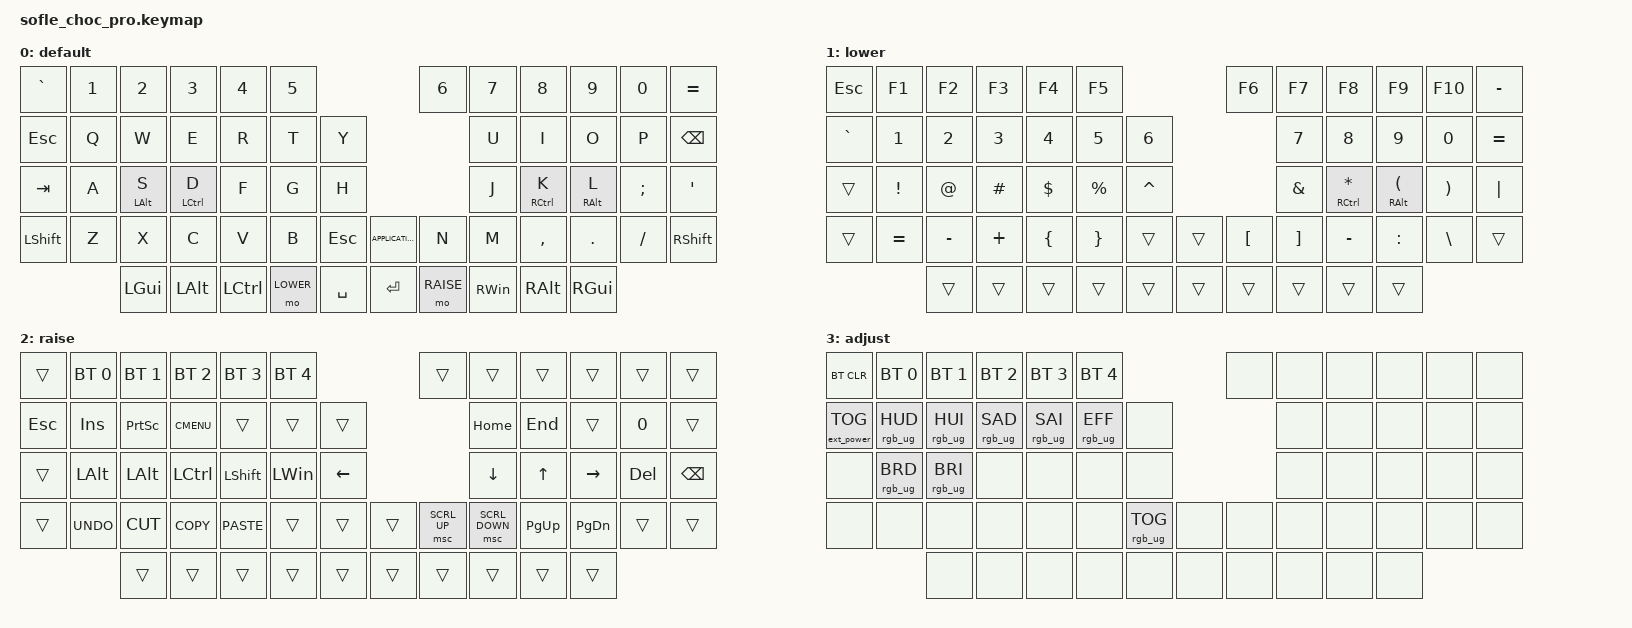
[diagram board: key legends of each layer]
/*
* Copyright (c) 2020 The ZMK Contributors
*
* SPDX-License-Identifier: MIT
*/

#include <behaviors.dtsi>
#include <dt-bindings/zmk/bt.h>
#include <dt-bindings/zmk/ext_power.h>
#include <dt-bindings/zmk/keys.h>
#include <dt-bindings/zmk/pointing.h>
#include <dt-bindings/zmk/rgb.h>

#define BASE 0
#define LOWER 1
#define RAISE 2
#define ADJUST 3

/ {
    // Activate ADJUST layer by pressing raise and lower

    conditional_layers {
        compatible = "zmk,conditional-layers";

        adjust_layer {
            if-layers = <LOWER RAISE>;
            then-layer = <ADJUST>;
        };
    };

    behaviors {
        hrmShiftLeft: hrmShiftLeft {
            compatible = "zmk,behavior-hold-tap";
            label = "HRMSHIFTLEFT";
            bindings = <&kp>, <&kp>;

            #binding-cells = <2>;
            tapping-term-ms = <200>;
            flavor = "hold-preferred";
            hold-while-undecided;
            retro-tap;
            hold-trigger-on-release;
            hold-trigger-key-positions = <6 7 8 9 10 11 18 19 20 21 22 23 30 31 32 33 34 35 44 45 46 47 48 49>;
        };

        hmrShiftRight: hmrShiftRight {
            compatible = "zmk,behavior-hold-tap";
            label = "HMRSHIFTRIGHT";
            bindings = <&kp>, <&kp>;

            #binding-cells = <2>;
            tapping-term-ms = <200>;
            flavor = "hold-preferred";
            hold-while-undecided;
            retro-tap;
            hold-trigger-on-release;
            hold-trigger-key-positions = <0 1 2 3 4 5 12 13 14 15 16 17 24 25 26 27 28 29 36 37 38 39 40 41>;
        };

        hrmRight: hrmRight {
            compatible = "zmk,behavior-hold-tap";
            label = "HRMRIGHT";
            bindings = <&kp>, <&kp>;

            #binding-cells = <2>;
            tapping-term-ms = <280>;
            flavor = "balanced";
            hold-trigger-key-positions = <0 1 2 3 4 5 12 13 14 15 16 17 24 25 26 27 28 29 36 37 38 39 40 41>;
            quick-tap-ms = <175>;
            require-prior-idle-ms = <150>;
            hold-trigger-on-release;
        };

        hrmLeft: hrmLeft {
            compatible = "zmk,behavior-hold-tap";
            label = "HRMLEFT";
            bindings = <&kp>, <&kp>;

            #binding-cells = <2>;
            tapping-term-ms = <280>;
            flavor = "balanced";
            hold-trigger-key-positions = <6 7 8 9 10 11 18 19 20 21 22 23 30 31 32 33 34 35 44 45 46 47 48 49>;
            quick-tap-ms = <175>;
            require-prior-idle-ms = <150>;
            hold-trigger-on-release;
        };

        hrmRightCustom: hrmRightCustom {
            compatible = "zmk,behavior-hold-tap";
            label = "HRMRIGHTCUSTOM";
            bindings = <&kp>, <&kp>;

            #binding-cells = <2>;
            tapping-term-ms = <175>;
            flavor = "balanced";
            hold-trigger-key-positions = <0 1 2 3 4 5 12 13 14 15 16 17 24 25 26 27 28 29 36 37 38 39 40 41>;
            quick-tap-ms = <150>;
            require-prior-idle-ms = <125>;
            hold-trigger-on-release;
        };

        hrmLeftCustom: hrmLeftCustom {
            compatible = "zmk,behavior-hold-tap";
            label = "HRMLEFTCUSTOM";
            bindings = <&kp>, <&kp>;

            #binding-cells = <2>;
            tapping-term-ms = <175>;
            flavor = "balanced";
            hold-trigger-key-positions = <6 7 8 9 10 11 18 19 20 21 22 23 30 31 32 33 34 35 44 45 46 47 48 49>;
            quick-tap-ms = <150>;
            require-prior-idle-ms = <125>;
            hold-trigger-on-release;
        };

        hrmRightModified: hrmRightModified {
            compatible = "zmk,behavior-hold-tap";
            label = "HRMRIGHTMODIFIED";
            bindings = <&kp>, <&kp>;

            #binding-cells = <2>;
            tapping-term-ms = <280>;
            flavor = "balanced";
            hold-trigger-key-positions = <0 1 2 3 4 5 12 13 14 15 16 17 24 25 26 27 28 29 36 37 38 39 40 41 54>;
            quick-tap-ms = <175>;
            require-prior-idle-ms = <100>;
            hold-trigger-on-release;
        };

        hrmLeftModified: hrmLeftModified {
            compatible = "zmk,behavior-hold-tap";
            label = "HRMLEFTMODIFIED";
            bindings = <&kp>, <&kp>;

            #binding-cells = <2>;
            tapping-term-ms = <280>;
            flavor = "balanced";
            hold-trigger-key-positions = <6 7 8 9 10 11 18 19 20 21 22 23 30 31 32 33 34 35 44 45 46 47 48 49 55>;
            quick-tap-ms = <175>;
            require-prior-idle-ms = <100>;
            hold-trigger-on-release;
        };

        td_gui_key: td_gui_key {
            compatible = "zmk,behavior-tap-dance";
            label = "TD_GUI_KEY";
            #binding-cells = <0>;
            bindings = <&kp Z>, <&kp LEFT_WIN>;
        };
    };

    keymap {
        compatible = "zmk,keymap";

        default_layer {
            display-name = "default";

            // ------------------------------------------------------------------------------------------------------------
            // |   `   |  1  |  2  |  3   |  4   |  5   |                   |  6   |  7    |  8    |  9   |   0   |   `   |
            // |  ESC  |  Q  |  W  |  E   |  R   |  T   |                   |  Y   |  U    |  I    |  O   |   P   | BKSPC |
            // |  TAB  |  A  |  S  |  D   |  F   |  G   |                   |  H   |  J    |  K    |  L   |   ;   |   '   |
            // | SHIFT |  Z  |  X  |  C   |  V   |  B   |  MUTE  |  | PLAY  |  N   |  M    |  ,    |  .   |   /   | SHIFT |
            //               | GUI | ALT  | CTRL | LOWER|  ENTER |  | SPACE | RAISE| CTRL  | ALT   | GUI  |

            bindings = <
&kp GRAVE   &kp N1  &kp N2                       &kp N3                           &kp N4     &kp N5                                    &kp N6     &kp N7         &kp N8                             &kp N9                         &kp N0    &kp EQUAL
&kp ESCAPE  &kp Q   &kp W                        &kp E                            &kp R      &kp T      &kp Y                                     &kp U          &kp I                              &kp O                          &kp P     &kp BSPC
&kp TAB     &kp A   &hrmLeftModified LEFT_ALT S  &hrmLeftModified LEFT_CONTROL D  &kp F      &kp G      &kp H                                     &kp J          &hrmRightModified RIGHT_CONTROL K  &hrmRightModified RIGHT_ALT L  &kp SEMI  &kp SQT
&kp LSHFT   &kp Z   &kp X                        &kp C                            &kp V      &kp B      &kp ESCAPE  &kp K_APPLICATION  &kp N      &kp M          &kp COMMA                          &kp DOT                        &kp FSLH  &kp RSHFT
                    &kp LGUI                     &kp LALT                         &kp LCTRL  &mo LOWER  &kp SPACE   &kp ENTER          &mo RAISE  &kp RIGHT_WIN  &kp RALT                           &kp RGUI
            >;
        };

        lower_layer {
            display-name = "lower";

            // ------------------------------------------------------------------------------------------------------------
            // |       |  F1 |  F2 |  F3  |  F4  |  F5  |                   |  F6  |  F7   |  F8   |  F9  |  F10  |  F11  |
            // |   `   |  1  |  2  |  3   |  4   |  5   |                   |  6   |  7    |  8    |  9   |   0   |  F12  |
            // |       |  !  |  @  |  #   |  $   |  %   |                   |  ^   |  &    |  *    |  (   |   )   |   |   |
            // |       |  =  |  -  |  +   |  {   |  }   |        |  |       |  [   |  ]    |  ;    |  :   |   \   |       |
            //               |     |      |      |      |        |  |       |      |       |       |      |

            bindings = <
&kp ESCAPE  &kp F1     &kp F2     &kp F3    &kp F4    &kp F5                           &kp F6    &kp F7    &kp F8                                    &kp F9                                        &kp F10   &kp MINUS
&kp GRAVE   &kp N1     &kp N2     &kp N3    &kp N4    &kp N5     &kp NUMBER_6                    &kp N7    &kp N8                                    &kp N9                                        &kp N0    &kp EQUAL
&trans      &kp EXCL   &kp AT     &kp HASH  &kp DLLR  &kp PRCNT  &kp CARET                       &kp AMPS  &hrmRightModified RIGHT_CONTROL ASTERISK  &hrmRightModified RIGHT_ALT LEFT_PARENTHESIS  &kp RPAR  &kp PIPE
&trans      &kp EQUAL  &kp MINUS  &kp PLUS  &kp LBRC  &kp RBRC   &trans        &trans  &kp LBKT  &kp RBKT  &kp MINUS                                 &kp COLON                                     &kp BSLH  &trans
                       &trans     &trans    &trans    &trans     &trans        &trans  &trans    &trans    &trans                                    &trans
            >;
        };

        raise_layer {
            display-name = "raise";

            // ------------------------------------------------------------------------------------------------------------
            // | BTCLR | BT1  | BT2  |  BT3  |  BT4  |  BT5 |                |      |      |       |      |       |       |
            // |       | INS  | PSCR | GUI   |       |      |                | PGUP |      |   ^   |      |       |       |
            // |       | ALT  | CTRL | SHIFT |       | CAPS |                | PGDN |   <- |   v   |  ->  |  DEL  | BKSPC |
            // |       | UNDO | CUT  | COPY  | PASTE |      |      |  |      |      |      |       |      |       |       |
            //                |      |       |       |      |      |  |      |      |      |       |      |

            bindings = <
&trans      &bt BT_SEL 0  &bt BT_SEL 1  &bt BT_SEL 2      &bt BT_SEL 3    &bt BT_SEL 4                    &trans        &trans          &trans       &trans         &trans   &trans
&kp ESCAPE  &kp INS       &kp PSCRN     &kp K_CMENU       &trans          &trans        &trans                          &kp HOME        &kp END      &trans         &kp N0   &trans
&trans      &kp LALT      &kp LEFT_ALT  &kp LEFT_CONTROL  &kp LEFT_SHIFT  &kp LEFT_WIN  &kp LEFT                        &kp DOWN        &kp UP       &kp RIGHT      &kp DEL  &kp BSPC
&trans      &kp K_UNDO    &kp K_CUT     &kp K_COPY        &kp K_PASTE     &trans        &trans    &trans  &msc SCRL_UP  &msc SCRL_DOWN  &kp PAGE_UP  &kp PAGE_DOWN  &trans   &trans
                          &trans        &trans            &trans          &trans        &trans    &trans  &trans        &trans          &trans       &trans
            >;
        };

        adjust_layer {
            // ----------------------------------------------------------------------------------------------------------------------------
            // | BTCLR  |  BT1    |  BT2    |   BT3   |   BT4   |   BT5   |                  |      |      |       |      |       |       |
            // | EXTPWR | RGB_HUD | RGB_HUI | RGB_SAD | RGB_SAI | RGB_EFF |                  |      |      |       |      |       |       |
            // |        | RGB_BRD | RGB_BRI |         |         |         |                  |      |      |       |      |       |       |
            // |        |         |         |         |         |         | RGB_TOG | |      |      |      |       |      |       |       |
            //                    |         |         |         |         |         | |      |      |      |       |      |

            display-name = "adjust";
            bindings = <
&bt BT_CLR         &bt BT_SEL 0     &bt BT_SEL 1     &bt BT_SEL 2     &bt BT_SEL 3     &bt BT_SEL 4                             &none  &none  &none  &none  &none  &none
&ext_power EP_TOG  &rgb_ug RGB_HUD  &rgb_ug RGB_HUI  &rgb_ug RGB_SAD  &rgb_ug RGB_SAI  &rgb_ug RGB_EFF  &none                          &none  &none  &none  &none  &none
&none              &rgb_ug RGB_BRD  &rgb_ug RGB_BRI  &none            &none            &none            &none                          &none  &none  &none  &none  &none
&none              &none            &none            &none            &none            &none            &rgb_ug RGB_TOG  &none  &none  &none  &none  &none  &none  &none
                                    &none            &none            &none            &none            &none            &none  &none  &none  &none  &none
            >;
        };
    };
};
